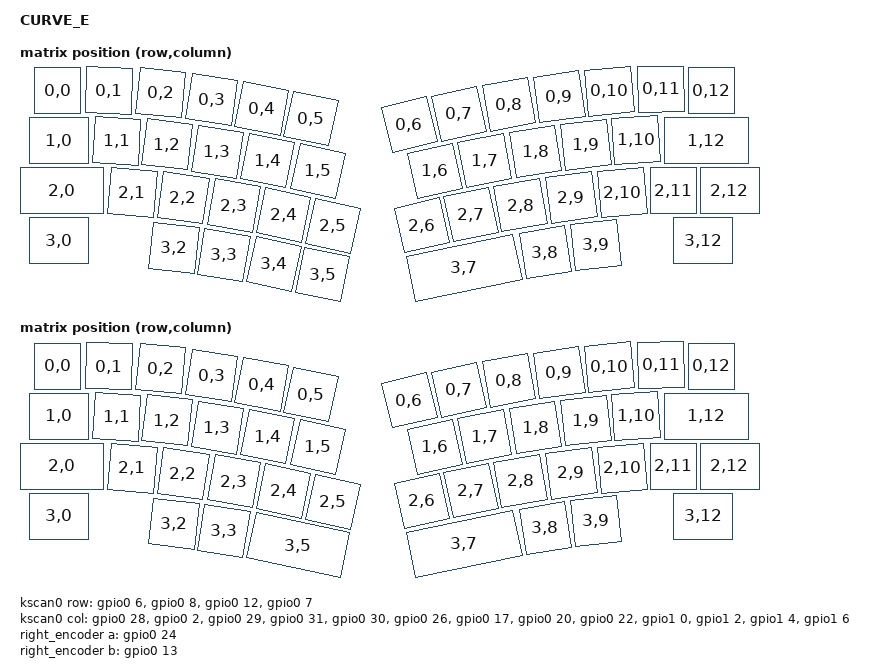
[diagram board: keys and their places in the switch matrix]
/*
* Copyright (c) 2021 The ZMK Contributors
*
* SPDX-License-Identifier: MIT
*/

#include <dt-bindings/zmk/matrix_transform.h>
#include <dt-bindings/led/led.h>
#include <physical_layouts.dtsi>

/ {
	model = "CURVE_E";
	compatible = "dekb,curve_e";

	chosen {
		zmk,battery = &vbatt;
		zmk,kscan = &kscan0;
        zmk,underglow = &led_strip;
		zmk,physical-layout = <&space_1u>;
	};

	sensors {
		compatible = "zmk,keymap-sensors";
		sensors = <&right_encoder>;
	};

	
	space_1u_matrix_transform: space_1u_matrix_transform {
		compatible = "zmk,matrix-transform";
		columns = <13>;
		rows = <4>;
		map = <
			RC(0,0) RC(0,1) RC(0,2) RC(0,3) RC(0,4) RC(0,5) RC(0,6) RC(0,7) RC(0,8) RC(0,9) RC(0,10) RC(0,11) RC(0,12)  
			RC(1,0) RC(1,1) RC(1,2) RC(1,3) RC(1,4) RC(1,5) RC(1,6) RC(1,7) RC(1,8) RC(1,9) RC(1,10)		  RC(1,12) 
			RC(2,0) RC(2,1) RC(2,2) RC(2,3) RC(2,4) RC(2,5) RC(2,6) RC(2,7) RC(2,8) RC(2,9) RC(2,10) RC(2,11) RC(2,12)  
			RC(3,0) 		RC(3,2) RC(3,3) RC(3,4) RC(3,5) 		RC(3,7) RC(3,8) RC(3,9) 				  RC(3,12)
		>;
	};

    space_1u: space_1u {
        compatible = "zmk,physical-layout";
        display-name = "LEFT SPACE 1U";
        transform = <&space_1u_matrix_transform>;

        keys  //                     w   h    x    y     rot    rx    ry
            = <&key_physical_attrs 100 100    0    0       0     0     0>
            , <&key_physical_attrs 100 100  109 (-7)     150 (-126) (-212)>
            , <&key_physical_attrs 100 100  231 (-34)     563 (-126) (-212)>
            , <&key_physical_attrs 100 100  344 (-55)     838 (-126) (-212)>
            , <&key_physical_attrs 100 100  453 (-75)    1050 (-126) (-212)>
            , <&key_physical_attrs 100 100  559 (-94)    1213 (-126) (-212)>
            , <&key_physical_attrs 100 100  607  258 (-1300) (-126) (-212)>
            , <&key_physical_attrs 100 100  716  246 (-1212) (-126) (-212)>
            , <&key_physical_attrs 100 100  832  220 (-1050) (-126) (-212)>
            , <&key_physical_attrs 100 100  951  182  (-837) (-126) (-212)>
            , <&key_physical_attrs 100 100 1072  126  (-562) (-126) (-212)>
            , <&key_physical_attrs 100 100 1205   10   (-50) (-126) (-212)>
            , <&key_physical_attrs 100 100 1307    0       0     0     0>
            , <&key_physical_attrs 125 100 (-10)  100       0     0     0>
            , <&key_physical_attrs 100 100  139   84     335 (-126) (-212)>
            , <&key_physical_attrs 100 100  259   61     650 (-126) (-212)>
            , <&key_physical_attrs 100 100  374   41     900 (-126) (-212)>
            , <&key_physical_attrs 100 100  486   20    1100 (-126) (-212)>
            , <&key_physical_attrs 100 100  596    1    1250 (-126) (-212)>
            , <&key_physical_attrs 100 100  641  353 (-1250) (-126) (-212)>
            , <&key_physical_attrs 100 100  759  330 (-1100) (-126) (-212)>
            , <&key_physical_attrs 100 100  882  295  (-900) (-126) (-212)>
            , <&key_physical_attrs 100 100 1007  246  (-650) (-126) (-212)>
            , <&key_physical_attrs 100 100 1134  177  (-335) (-126) (-212)>
            , <&key_physical_attrs 175 100 1260  100       0     0     0>
            , <&key_physical_attrs 175 100 (-29)  200       0     0     0>
            , <&key_physical_attrs 100 100  189  174     500 (-126) (-212)>
            , <&key_physical_attrs 100 100  314  151     800 (-126) (-212)>
            , <&key_physical_attrs 100 100  431  131    1000 (-126) (-212)>
            , <&key_physical_attrs 100 100  545  108    1200 (-126) (-212)>
            , <&key_physical_attrs 100 100  653   93    1310 (-126) (-212)>
            , <&key_physical_attrs 100 100  586  460 (-1300) (-126) (-212)>
            , <&key_physical_attrs 100 100  699  446 (-1200) (-126) (-212)>
            , <&key_physical_attrs 100 100  824  414 (-1000) (-126) (-212)>
            , <&key_physical_attrs 100 100  950  377  (-800) (-126) (-212)>
            , <&key_physical_attrs 100 100 1084  316  (-500) (-126) (-212)>
            , <&key_physical_attrs 100 100 1232  200       0     0     0>
            , <&key_physical_attrs 125 100 1332  200       0     0     0>
            , <&key_physical_attrs 125 100 (-10)  300       0     0     0>
            , <&key_physical_attrs 100 100  296  265     650 (-126) (-212)>
            , <&key_physical_attrs 100 100  419  243     900 (-126) (-212)>
            , <&key_physical_attrs 100 100  546  208    1200 (-126) (-212)>
            , <&key_physical_attrs 100 100  646  208    1200 (-126) (-212)>
            , <&key_physical_attrs 225 100  601  548 (-1200) (-126) (-212)>
            , <&key_physical_attrs 100 100  870  497  (-900) (-126) (-212)>
            , <&key_physical_attrs 100 100 1004  448  (-650) (-126) (-212)>
            , <&key_physical_attrs 125 100 1279  300       0     0     0>
            ;
    };

    space_2u_matrix_transform: space_2u_matrix_transform {
		compatible = "zmk,matrix-transform";
		columns = <13>;
		rows = <4>;
		map = <
			RC(0,0) RC(0,1) RC(0,2) RC(0,3) RC(0,4) RC(0,5) RC(0,6) RC(0,7) RC(0,8) RC(0,9) RC(0,10) RC(0,11) RC(0,12)  
			RC(1,0) RC(1,1) RC(1,2) RC(1,3) RC(1,4) RC(1,5) RC(1,6) RC(1,7) RC(1,8) RC(1,9) RC(1,10)		  RC(1,12) 
			RC(2,0) RC(2,1) RC(2,2) RC(2,3) RC(2,4) RC(2,5) RC(2,6) RC(2,7) RC(2,8) RC(2,9) RC(2,10) RC(2,11) RC(2,12)  
			RC(3,0) 		RC(3,2) RC(3,3)         RC(3,5) 		RC(3,7) RC(3,8) RC(3,9) 				  RC(3,12)
		>;
	};

    space_2u: space_2u {
        compatible = "zmk,physical-layout";
        display-name = "LEFT SPACE 2U";
        transform = <&space_2u_matrix_transform>;

        keys  //                     w   h    x    y     rot    rx    ry
            = <&key_physical_attrs 100 100    0    0       0     0     0>
            , <&key_physical_attrs 100 100  109 (-7)     150 (-126) (-212)>
            , <&key_physical_attrs 100 100  231 (-34)     563 (-126) (-212)>
            , <&key_physical_attrs 100 100  344 (-55)     838 (-126) (-212)>
            , <&key_physical_attrs 100 100  453 (-75)    1050 (-126) (-212)>
            , <&key_physical_attrs 100 100  559 (-94)    1213 (-126) (-212)>
            , <&key_physical_attrs 100 100  607  258 (-1300) (-126) (-212)>
            , <&key_physical_attrs 100 100  716  246 (-1212) (-126) (-212)>
            , <&key_physical_attrs 100 100  832  220 (-1050) (-126) (-212)>
            , <&key_physical_attrs 100 100  951  182  (-837) (-126) (-212)>
            , <&key_physical_attrs 100 100 1072  126  (-562) (-126) (-212)>
            , <&key_physical_attrs 100 100 1205   10   (-50) (-126) (-212)>
            , <&key_physical_attrs 100 100 1307    0       0     0     0>
            , <&key_physical_attrs 125 100 (-10)  100       0     0     0>
            , <&key_physical_attrs 100 100  139   84     335 (-126) (-212)>
            , <&key_physical_attrs 100 100  259   61     650 (-126) (-212)>
            , <&key_physical_attrs 100 100  374   41     900 (-126) (-212)>
            , <&key_physical_attrs 100 100  486   20    1100 (-126) (-212)>
            , <&key_physical_attrs 100 100  596    1    1250 (-126) (-212)>
            , <&key_physical_attrs 100 100  641  353 (-1250) (-126) (-212)>
            , <&key_physical_attrs 100 100  759  330 (-1100) (-126) (-212)>
            , <&key_physical_attrs 100 100  882  295  (-900) (-126) (-212)>
            , <&key_physical_attrs 100 100 1007  246  (-650) (-126) (-212)>
            , <&key_physical_attrs 100 100 1134  177  (-335) (-126) (-212)>
            , <&key_physical_attrs 175 100 1260  100       0     0     0>
            , <&key_physical_attrs 175 100 (-29)  200       0     0     0>
            , <&key_physical_attrs 100 100  189  174     500 (-126) (-212)>
            , <&key_physical_attrs 100 100  314  151     800 (-126) (-212)>
            , <&key_physical_attrs 100 100  431  131    1000 (-126) (-212)>
            , <&key_physical_attrs 100 100  545  108    1200 (-126) (-212)>
            , <&key_physical_attrs 100 100  653   93    1310 (-126) (-212)>
            , <&key_physical_attrs 100 100  586  460 (-1300) (-126) (-212)>
            , <&key_physical_attrs 100 100  699  446 (-1200) (-126) (-212)>
            , <&key_physical_attrs 100 100  824  414 (-1000) (-126) (-212)>
            , <&key_physical_attrs 100 100  950  377  (-800) (-126) (-212)>
            , <&key_physical_attrs 100 100 1084  316  (-500) (-126) (-212)>
            , <&key_physical_attrs 100 100 1232  200       0     0     0>
            , <&key_physical_attrs 125 100 1332  200       0     0     0>
            , <&key_physical_attrs 125 100 (-10)  300       0     0     0>
            , <&key_physical_attrs 100 100  296  265     650 (-126) (-212)>
            , <&key_physical_attrs 100 100  419  243     900 (-126) (-212)>
            , <&key_physical_attrs 200 100  546  208    1200 (-126) (-212)>
            , <&key_physical_attrs 225 100  601  548 (-1200) (-126) (-212)>
            , <&key_physical_attrs 100 100  870  497  (-900) (-126) (-212)>
            , <&key_physical_attrs 100 100 1004  448  (-650) (-126) (-212)>
            , <&key_physical_attrs 125 100 1279  300       0     0     0>
            ;
    };

    position_map {
        compatible = "zmk,physical-layout-position-map";

        space_2u {
            physical-layout = <&space_2u>;
            positions = <41>;
        };

        space_1u {
            physical-layout = <&space_1u>;
            positions = <42>;
        };
    };

	kscan0: kscan_0 {
		compatible = "zmk,kscan-gpio-matrix";
		diode-direction = "col2row";
        wakeup-source;

		col-gpios
			= <&gpio0 28 GPIO_ACTIVE_HIGH>
			, <&gpio0 2  GPIO_ACTIVE_HIGH>
			, <&gpio0 29 GPIO_ACTIVE_HIGH>
			, <&gpio0 31 GPIO_ACTIVE_HIGH>
			, <&gpio0 30 GPIO_ACTIVE_HIGH>
			, <&gpio0 26 GPIO_ACTIVE_HIGH>
			, <&gpio0 17 GPIO_ACTIVE_HIGH>
			, <&gpio0 20 GPIO_ACTIVE_HIGH>
			, <&gpio0 22 GPIO_ACTIVE_HIGH>
			, <&gpio1 0  GPIO_ACTIVE_HIGH>
			, <&gpio1 2  GPIO_ACTIVE_HIGH>
			, <&gpio1 4  GPIO_ACTIVE_HIGH>
			, <&gpio1 6  GPIO_ACTIVE_HIGH>
			;

		row-gpios
			= <&gpio0 6  (GPIO_ACTIVE_HIGH | GPIO_PULL_DOWN)>
			, <&gpio0 8  (GPIO_ACTIVE_HIGH | GPIO_PULL_DOWN)>
			, <&gpio0 12 (GPIO_ACTIVE_HIGH | GPIO_PULL_DOWN)>
			, <&gpio0 7  (GPIO_ACTIVE_HIGH | GPIO_PULL_DOWN)>
			;
	};

    aliases {
        indicator-b = &led0;
        indicator-w = &led1;
    };

    leds {
        compatible = "gpio-leds";
        status = "okay";
        led0: led_0 { gpios = <&gpio0  3 GPIO_ACTIVE_HIGH>; }; // blue
        led1: led_1 { gpios = <&gpio1 10 GPIO_ACTIVE_HIGH>; }; // white 
    };

    right_encoder: encoder_right {
        compatible = "alps,ec11";
        a-gpios = <&gpio0 24 (GPIO_ACTIVE_HIGH | GPIO_PULL_UP)>;
        b-gpios = <&gpio0 13  (GPIO_ACTIVE_HIGH | GPIO_PULL_UP)>;
        resolution = <4>;
		status = "okay";
    };

	vbatt: vbatt {
		compatible = "zmk,battery-voltage-divider";
		io-channels = <&adc 2>;
		output-ohms = <2000000>;
		full-ohms = <(2000000 + 820000)>;
	};

    ext-power {
        compatible = "zmk,ext-power-generic";
        label = "EXT_POWER";
        control-gpios = <&gpio1 9 GPIO_ACTIVE_HIGH>;
    };

    /* --- Wakeup after Soft-off using key D --- */
    keys {
        compatible = "gpio-keys";
        soft_off_gpio_key: soft_off_gpio_key {
            gpios = <&gpio0 8 (GPIO_ACTIVE_HIGH | GPIO_PULL_DOWN)>; // row1
        };
    };

    wakeup_scan: wakeup_scan {
        compatible = "zmk,gpio-key-wakeup-trigger";
        trigger = <&soft_off_gpio_key>;
        wakeup-source;
        
        extra-gpios = <&gpio0 31  GPIO_ACTIVE_HIGH>; // col3
    };

    soft_off_wakers {
        compatible = "zmk,soft-off-wakeup-sources";
        wakeup-sources = <&wakeup_scan>;
    };
};

&spi3 {
    compatible = "nordic,nrf-spim";
    status = "okay";

    pinctrl-0 = <&spi3_default>;
    pinctrl-1 = <&spi3_sleep>;
    pinctrl-names = "default", "sleep";

    led_strip: ws2812@0 {
        compatible = "worldsemi,ws2812-spi";

        /* SPI */
        reg = <0>; /* ignored, but necessary for SPI bindings */
        spi-max-frequency = <4000000>;

        /* WS2812 */
        chain-length = <10>; /* arbitrary; change at will */
        spi-one-frame = <0x70>;
        spi-zero-frame = <0x40>;

        color-mapping = <LED_COLOR_ID_GREEN LED_COLOR_ID_RED LED_COLOR_ID_BLUE>;
    };
};

&pinctrl {
    spi3_default: spi3_default {
        group1 {
            psels = <NRF_PSEL(SPIM_MOSI, 0, 15)>;
        };
    };

    spi3_sleep: spi3_sleep {
        group1 {
            psels = <NRF_PSEL(SPIM_MOSI, 0, 15)>;
            low-power-enable;
        };
    };
};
